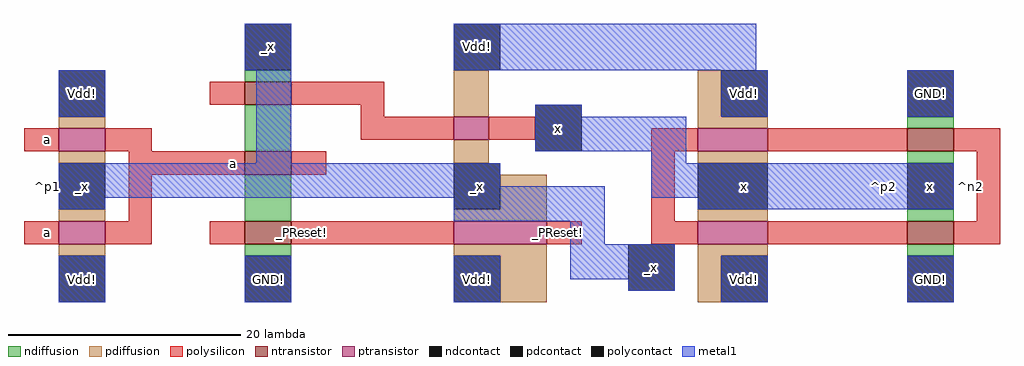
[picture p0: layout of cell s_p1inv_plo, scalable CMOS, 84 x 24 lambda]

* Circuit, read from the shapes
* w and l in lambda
.subckt s_p1inv_plo GND! Vdd! _PReset! _x a x
M1 n1 _PReset! GND! VSUBS nfet w=4 l=2
M2 n2 a n1 VSUBS nfet w=4 l=2
M3 _x x n2 VSUBS nfet w=4 l=2
M4 x _x GND! VSUBS nfet w=4 l=2 m=2
M5 _x a Vdd! NWELL pfet w=4 l=2 m=2
M6 _x _PReset! Vdd! NWELL pfet w=8 l=2
M7 Vdd! x _x NWELL pfet w=3 l=2
M8 x _x Vdd! NWELL pfet w=6 l=2 m=2
.ends

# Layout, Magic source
magic
tech scmos
<< ndiffusion >>
rect -96 3 -92 4
rect -96 -3 -92 1
rect -39 -1 -35 0
rect -96 -9 -92 -5
rect -39 -4 -35 -3
rect -39 -9 -35 -8
rect -96 -12 -92 -11
rect -39 -12 -35 -11
<< pdiffusion >>
rect -112 -1 -108 0
rect -78 0 -75 4
rect -112 -4 -108 -3
rect -112 -9 -108 -8
rect -78 -4 -75 -2
rect -57 0 -55 4
rect -57 -1 -51 0
rect -74 -8 -70 -5
rect -78 -9 -70 -8
rect -57 -4 -51 -3
rect -57 -9 -51 -8
rect -112 -12 -108 -11
rect -78 -12 -70 -11
rect -74 -16 -70 -12
rect -57 -12 -51 -11
rect -57 -16 -55 -12
<< ntransistor >>
rect -96 1 -92 3
rect -96 -5 -92 -3
rect -39 -3 -35 -1
rect -96 -11 -92 -9
rect -39 -11 -35 -9
<< ptransistor >>
rect -112 -3 -108 -1
rect -78 -2 -75 0
rect -57 -3 -51 -1
rect -112 -11 -108 -9
rect -78 -11 -70 -9
rect -57 -11 -51 -9
<< polysilicon >>
rect -99 1 -96 3
rect -92 1 -84 3
rect -115 -3 -112 -1
rect -108 -3 -104 -1
rect -86 0 -84 1
rect -86 -2 -78 0
rect -75 -2 -71 0
rect -106 -5 -96 -3
rect -92 -5 -89 -3
rect -61 -3 -57 -1
rect -51 -3 -39 -1
rect -35 -3 -31 -1
rect -106 -9 -104 -5
rect -61 -9 -59 -3
rect -33 -9 -31 -3
rect -115 -11 -112 -9
rect -108 -11 -104 -9
rect -99 -11 -96 -9
rect -92 -11 -78 -9
rect -70 -11 -67 -9
rect -61 -11 -57 -9
rect -51 -11 -39 -9
rect -35 -11 -31 -9
<< ndcontact >>
rect -96 4 -92 8
rect -39 0 -35 4
rect -39 -8 -35 -4
rect -96 -16 -92 -12
rect -39 -16 -35 -12
<< pdcontact >>
rect -112 0 -108 4
rect -78 4 -74 8
rect -112 -8 -108 -4
rect -55 0 -51 4
rect -78 -8 -74 -4
rect -57 -8 -51 -4
rect -112 -16 -108 -12
rect -78 -16 -74 -12
rect -55 -16 -51 -12
<< polycontact >>
rect -71 -3 -67 1
rect -63 -15 -59 -11
<< metal1 >>
rect -96 4 -92 8
rect -78 4 -52 8
rect -112 0 -108 4
rect -95 -4 -92 4
rect -71 0 -67 1
rect -55 0 -51 4
rect -39 0 -35 4
rect -71 -3 -58 0
rect -61 -4 -58 -3
rect -112 -6 -74 -4
rect -112 -7 -65 -6
rect -61 -7 -35 -4
rect -112 -8 -108 -7
rect -78 -9 -65 -7
rect -57 -8 -35 -7
rect -68 -11 -65 -9
rect -112 -16 -108 -12
rect -96 -16 -92 -12
rect -78 -16 -74 -12
rect -68 -14 -59 -11
rect -63 -15 -59 -14
rect -55 -16 -51 -12
rect -39 -16 -35 -12
<< labels >>
rlabel polysilicon -113 -2 -113 -2 3 a
rlabel polysilicon -113 -10 -113 -10 3 a
rlabel space -115 -17 -111 5 7 ^p1
rlabel polysilicon -69 -10 -69 -10 5 _PReset!
rlabel polysilicon -97 -4 -97 -4 1 a
rlabel polysilicon -91 -10 -91 -10 1 _PReset!
rlabel space -36 -17 -31 5 3 ^n2
rlabel space -52 -18 -30 6 3 ^p2
rlabel pdcontact -110 -6 -110 -6 1 _x
rlabel pdcontact -110 2 -110 2 5 Vdd!
rlabel pdcontact -110 -14 -110 -14 1 Vdd!
rlabel pdcontact -76 -6 -76 -6 8 _x
rlabel polycontact -69 -1 -69 -1 5 x
rlabel ndcontact -94 -14 -94 -14 1 GND!
rlabel ndcontact -94 6 -94 6 5 _x
rlabel pdcontact -76 -14 -76 -14 5 Vdd!
rlabel pdcontact -76 6 -76 6 5 Vdd!
rlabel ndcontact -37 -14 -37 -14 1 GND!
rlabel ndcontact -37 2 -37 2 5 GND!
rlabel pdcontact -53 -6 -53 -6 1 x
rlabel ndcontact -37 -6 -37 -6 1 x
rlabel pdcontact -53 2 -53 2 5 Vdd!
rlabel pdcontact -53 -14 -53 -14 1 Vdd!
rlabel polycontact -61 -13 -61 -13 1 _x
<< end >>
